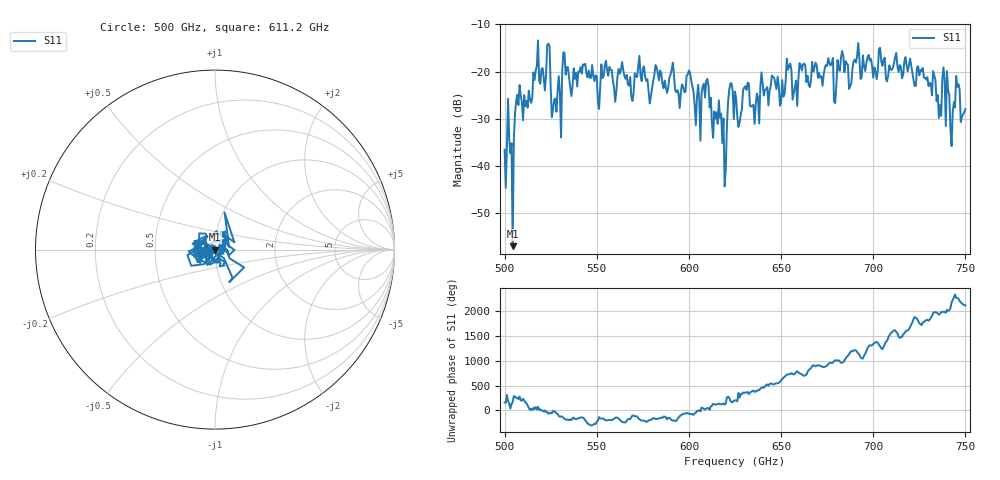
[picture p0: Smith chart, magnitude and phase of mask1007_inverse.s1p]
!Created with skrf (http://scikit-rf.org).
# GHz S MA R 50.0
!freq magS11 angS11
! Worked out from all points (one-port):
!   401 points, 500 GHz to 750 GHz, reference 50 ohm
!   lowest |S11| = -57.0 dB at 504.4 GHz (marker M1), VSWR 1.00, Z = 49.9 + j0.0266 ohm
!   |S11| at or under -10 dB: start of sweep to end of sweep
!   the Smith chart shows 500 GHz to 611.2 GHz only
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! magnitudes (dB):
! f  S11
! 500 GHz  -36.5
! 502.5 GHz  -34.1
! 504.4 GHz  -57.0
! 506.9 GHz  -24.9
! 513.8 GHz  -25.9
! 516.9 GHz  -19.8
! 523.8 GHz  -14.1
! 526.9 GHz  -26.0
! 531.2 GHz  -19.9
! 562.5 GHz  -20.5
! 579.4 GHz  -25.2
! 590.6 GHz  -19.6
! 593.8 GHz  -23.9
! 600 GHz  -19.8
! 605 GHz  -22.8
! 609.4 GHz  -21.9
! 619.4 GHz  -44.3
! 622.5 GHz  -22.5
! 625 GHz  -24.3
! 656.2 GHz  -26.0
! 676.9 GHz  -18.7
! 680 GHz  -23.0
! 683.8 GHz  -16.7
! 687.5 GHz  -23.0
! 691.2 GHz  -16.7
! 718.8 GHz  -20.0
! 743.1 GHz  -28.5
! 750 GHz  -27.9
